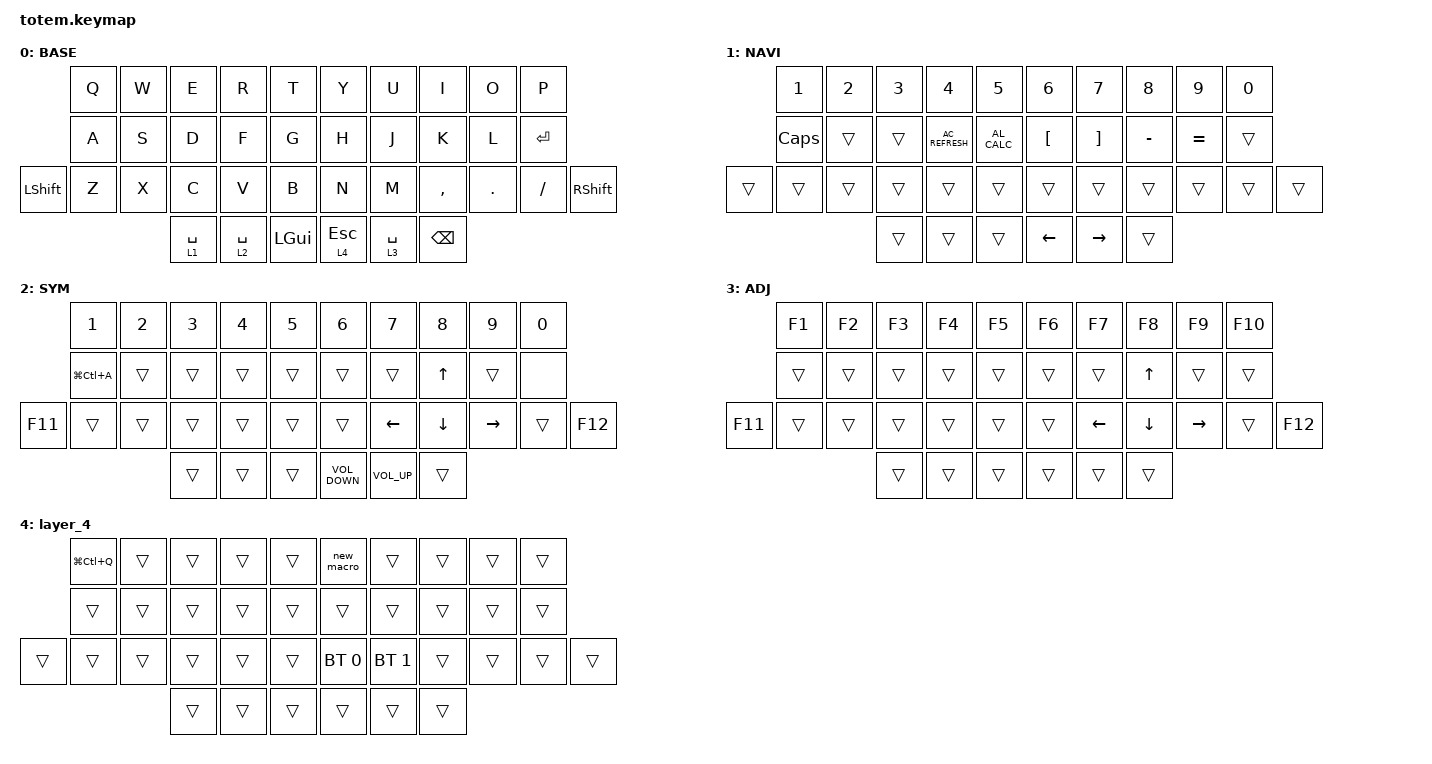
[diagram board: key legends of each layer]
//
//                                                        ▀▀▀▀▀     ▀▀▀▀▀          ▀▀█▀▀
//                                                        ▄▀▀▀▄  ▄  ▄▀▀▀▄  ▄  ▄▀▀▀▄  █  ▄▀▀▀▄
//                                                        █   █  █  █   █  █  █   █  █  █   █
//                                                         ▀▀▀   █   ▀▀▀   █   ▀▀▀   ▀   ▀▀▀
//                                                               █      ▄▄▄█▄▄▄    █   █  
//                                                               ▀      █  █  █     █▄█
//                                                             ▀▀▀▀▀    █  █  █      ▀
//                                                                      ▀  ▀  ▀
//
// ▄▄▄▄▄▄▄▄▄▄▄▄▄▄▄▄▄▄▄▄▄▄▄▄▄▄▄▄▄▄▄▄▄▄▄▄▄▄▄▄▄▄▄▄▄▄▄▄▄▄▄▄▄▄▄▄▄▄▄▄▄▄▄▄▄▄▄▄▄▄▄▄▄▄▄▄▄▄▄▄▄▄▄▄▄▄▄▄▄▄▄▄▄▄▄▄▄▄▄▄▄▄▄▄▄▄▄▄▄▄▄▄▄▄▄▄▄▄▄▄▄▄▄▄▄▄▄▄▄▄▄▄▄▄▄▄▄▄▄▄▄▄▄▄▄▄▄▄▄

#include <behaviors.dtsi>
#include <dt-bindings/zmk/bt.h>
#include <dt-bindings/zmk/keys.h>

#define BASE 0
#define NAV  1
#define SYM  2
#define ADJ  3
#define TVP1 4
#define TVP2 5

&mt {
    quick-tap-ms = <100>;
    global-quick-tap;
    flavor = "tap-preferred";
    tapping-term-ms = <170>;
};

/ {
    combos {
        compatible = "zmk,combos";

        lctrl {
            bindings = <&kp LCTRL>;
            key-positions = <11 12>;
            timeout-ms = <120>;
        };

        lalt {
            bindings = <&kp LALT>;
            key-positions = <12 13>;
            timeout-ms = <120>;
        };

        tab {
            bindings = <&kp TAB>;
            key-positions = <10 11>;
            timeout-ms = <120>;
        };

        ecs {
            bindings = <&kp ESC>;
            key-positions = <0 1>;
            timeout-ms = <120>;
        };

        delete {
            bindings = <&kp DELETE>;
            key-positions = <8 9>;
            timeout-ms = <120>;
        };

        btqingchu {
            bindings = <&bt BT_CLR>;
            key-positions = <20 31>;
            timeout-ms = <123>;
        };

        mima {
            bindings = <&new_macro>;
            key-positions = <0 9>;
            timeout-ms = <123>;
        };
    };

    macros {
        new_macro: new_macro {
            compatible = "zmk,behavior-macro";
            #binding-cells = <0>;
            bindings = <&kp NUMBER_1 &kp N5 &kp N0 &kp N5 &kp N0 &kp N7>;
            label = "NEW_MACRO";
        };
    };

    keymap {
        compatible = "zmk,keymap";

        // ▄▄▄▄▄▄▄▄▄▄▄▄▄▄▄▄▄▄▄▄▄▄▄▄▄▄▄▄▄▄▄▄▄▄▄▄▄▄▄▄▄▄▄▄▄▄▄▄▄▄▄▄▄▄▄▄▄▄▄▄▄▄▄▄▄▄▄▄▄▄▄▄▄▄▄▄▄▄▄▄▄▄▄▄▄▄▄▄▄▄▄▄▄▄▄▄▄▄▄▄▄▄▄▄▄▄▄▄▄▄▄▄▄▄▄▄▄▄▄▄▄▄▄▄▄▄▄▄▄▄▄▄▄▄▄▄▄▄▄▄▄▄▄▄▄▄▄▄▄

        base_layer {
            // ┏━━━━━━━━━━━━━━━━━━━━━━━━━━━━━━━━━━━━━━━┓

            label = "BASE";

            // ┗━━━━━━━━━━━━━━━━━━━━━━━━━━━━━━━━━━━━━━━┛
            //             ┏━━━━━━━━━━━┳━━━━━━━━━━━┳━━━━━━━━━━━┳━━━━━━━━━━━┳━━━━━━━━━━━┓   ┏━━━━━━━━━━━┳━━━━━━━━━━━┳━━━━━━━━━━━┳━━━━━━━━━━━┳━━━━━━━━━━━┓
            //             ┃     Q     ┃     W     ┃     F     ┃     P     ┃     G     ┃   ┃     J     ┃     L     ┃     U     ┃     Y     ┃     ;     ┃
            //             ┣━━━━━━━━━━━╋━━━━━━━━━━━╋━━━━━━━━━━━╋━━━━━━━━━━━╋━━━━━━━━━━━┫   ┣━━━━━━━━━━━╋━━━━━━━━━━━╋━━━━━━━━━━━╋━━━━━━━━━━━╋━━━━━━━━━━━┫
            //             ┃     A     ┃     R     ┃     S     ┃     T     ┃     D     ┃   ┃     H     ┃     N     ┃     E     ┃     I     ┃     O     ┃
            // ┏━━━━━━━━━━━╋━━━━━━━━━━━╋━━━━━━━━━━━╋━━━━━━━━━━━╋━━━━━━━━━━━╋━━━━━━━━━━━┫   ┣━━━━━━━━━━━╋━━━━━━━━━━━╋━━━━━━━━━━━╋━━━━━━━━━━━╋━━━━━━━━━━━╋━━━━━━━━━━━┓
            // ┃     Q     ┃     Z     ┃     X     ┃     C     ┃     V     ┃     B     ┃   ┃     K     ┃     M     ┃     ,     ┃     .     ┃     /     ┃     \     ┃
            // ┗━━━━━━━━━━━┻━━━━━━━━━━━┻━━━━━━━━━━━╋━━━━━━━━━━━╋━━━━━━━━━━━╋━━━━━━━━━━━┫   ┣━━━━━━━━━━━╋━━━━━━━━━━━╋━━━━━━━━━━━╋━━━━━━━━━━━┻━━━━━━━━━━━┻━━━━━━━━━━━┛
            //                                     ┃    DEL    ┃    TAB    ┃    SPC    ┃   ┃   ENTER   ┃           ┃   BSPC    ┃
            //                                     ┗━━━━━━━━━━━┻━━━━━━━━━━━┻━━━━━━━━━━━┛   ┗━━━━━━━━━━━┻━━━━━━━━━━━┻━━━━━━━━━━━┛

            bindings = <
           &kp Q  &kp W  &kp E        &kp R        &kp T       &kp Y      &kp U        &kp I      &kp O    &kp P
           &kp A  &kp S  &kp D        &kp F        &kp G       &kp H      &kp J        &kp K      &kp L    &kp RET
&kp LSHFT  &kp Z  &kp X  &kp C        &kp V        &kp B       &kp N      &kp M        &kp COMMA  &kp DOT  &kp FSLH  &kp RSHFT
                         &lt 1 SPACE  &lt 2 SPACE  &kp LGUI    &lt 4 ESC  &lt 3 SPACE  &kp BSPC
            >;
        };

        // ▄▄▄▄▄▄▄▄▄▄▄▄▄▄▄▄▄▄▄▄▄▄▄▄▄▄▄▄▄▄▄▄▄▄▄▄▄▄▄▄▄▄▄▄▄▄▄▄▄▄▄▄▄▄▄▄▄▄▄▄▄▄▄▄▄▄▄▄▄▄▄▄▄▄▄▄▄▄▄▄▄▄▄▄▄▄▄▄▄▄▄▄▄▄▄▄▄▄▄▄▄▄▄▄▄▄▄▄▄▄▄▄▄▄▄▄▄▄▄▄▄▄▄▄▄▄▄▄▄▄▄▄▄▄▄▄▄▄▄▄▄▄▄▄▄▄▄▄▄

        nav_layer {
            // ┏━━━━━━━━━━━━━━━━━━━━━━━━━━━━━━━━━━━━━━━┓

            label = "NAVI";

            // ┗━━━━━━━━━━━━━━━━━━━━━━━━━━━━━━━━━━━━━━━┛
            //             ┏━━━━━━━━━━━┳━━━━━━━━━━━┳━━━━━━━━━━━┳━━━━━━━━━━━┳━━━━━━━━━━━┓   ┏━━━━━━━━━━━┳━━━━━━━━━━━┳━━━━━━━━━━━┳━━━━━━━━━━━┳━━━━━━━━━━━┓
            //             ┃           ┃           ┃     UP    ┃           ┃     {     ┃   ┃     }     ┃     7     ┃     8     ┃     9     ┃     +     ┃
            //             ┣━━━━━━━━━━━╋━━━━━━━━━━━╋━━━━━━━━━━━╋━━━━━━━━━━━╋━━━━━━━━━━━┫   ┣━━━━━━━━━━━╋━━━━━━━━━━━╋━━━━━━━━━━━╋━━━━━━━━━━━╋━━━━━━━━━━━┫
            //             ┃   SHIFT   ┃   LEFT    ┃    DOWN   ┃   RIGHT   ┃     [     ┃   ┃     ]     ┃     4     ┃     5     ┃     6     ┃     -     ┃
            // ┏━━━━━━━━━━━╋━━━━━━━━━━━╋━━━━━━━━━━━╋━━━━━━━━━━━╋━━━━━━━━━━━╋━━━━━━━━━━━┫   ┣━━━━━━━━━━━╋━━━━━━━━━━━╋━━━━━━━━━━━╋━━━━━━━━━━━╋━━━━━━━━━━━╋━━━━━━━━━━━┓
            // ┃           ┃           ┃   P UP    ┃  C LOCK   ┃  P DOWN   ┃     (     ┃   ┃     )     ┃     1     ┃     2     ┃     3     ┃     *     ┃           ┃
            // ┗━━━━━━━━━━━┻━━━━━━━━━━━┻━━━━━━━━━━━╋━━━━━━━━━━━╋━━━━━━━━━━━╋━━━━━━━━━━━┫   ┣━━━━━━━━━━━╋━━━━━━━━━━━╋━━━━━━━━━━━╋━━━━━━━━━━━┻━━━━━━━━━━━┻━━━━━━━━━━━┛
            //                                     ┃           ┃    TAB    ┃    SPC    ┃   ┃    DEL    ┃     0     ┃           ┃
            //                                     ┗━━━━━━━━━━━┻━━━━━━━━━━━┻━━━━━━━━━━━┛   ┗━━━━━━━━━━━┻━━━━━━━━━━━┻━━━━━━━━━━━┛

            bindings = <
        &kp N1        &kp N2  &kp N3  &kp N4            &kp N5           &kp N6    &kp N7     &kp N8     &kp N9     &kp N0
        &kp CAPSLOCK  &trans  &trans  &kp C_AC_REFRESH  &kp C_AL_CALC    &kp LBKT  &kp RBKT   &kp MINUS  &kp EQUAL  &trans
&trans  &trans        &trans  &trans  &trans            &trans           &trans    &trans     &trans     &trans     &trans  &trans
                              &trans  &trans            &trans           &kp LEFT  &kp RIGHT  &trans
            >;
        };

        // ▄▄▄▄▄▄▄▄▄▄▄▄▄▄▄▄▄▄▄▄▄▄▄▄▄▄▄▄▄▄▄▄▄▄▄▄▄▄▄▄▄▄▄▄▄▄▄▄▄▄▄▄▄▄▄▄▄▄▄▄▄▄▄▄▄▄▄▄▄▄▄▄▄▄▄▄▄▄▄▄▄▄▄▄▄▄▄▄▄▄▄▄▄▄▄▄▄▄▄▄▄▄▄▄▄▄▄▄▄▄▄▄▄▄▄▄▄▄▄▄▄▄▄▄▄▄▄▄▄▄▄▄▄▄▄▄▄▄▄▄▄▄▄▄▄▄▄▄▄

        sim_layer {
            // ┏━━━━━━━━━━━━━━━━━━━━━━━━━━━━━━━━━━━━━━━┓

            label = "SYM";

            // ┗━━━━━━━━━━━━━━━━━━━━━━━━━━━━━━━━━━━━━━━┛
            //             ┏━━━━━━━━━━━┳━━━━━━━━━━━┳━━━━━━━━━━━┳━━━━━━━━━━━┳━━━━━━━━━━━┓   ┏━━━━━━━━━━━┳━━━━━━━━━━━┳━━━━━━━━━━━┳━━━━━━━━━━━┳━━━━━━━━━━━┓
            //             ┃     !     ┃     @     ┃     #     ┃     $     ┃     %     ┃   ┃     ˆ     ┃     &     ┃     Ü     ┃     '     ┃     "     ┃
            //             ┣━━━━━━━━━━━╋━━━━━━━━━━━╋━━━━━━━━━━━╋━━━━━━━━━━━╋━━━━━━━━━━━┫   ┣━━━━━━━━━━━╋━━━━━━━━━━━╋━━━━━━━━━━━╋━━━━━━━━━━━╋━━━━━━━━━━━┫
            //             ┃     Ä     ┃           ┃    SZ     ┃           ┃           ┃   ┃   MUTE    ┃   YEN     ┃   EURO    ┃  POUND    ┃     Ö     ┃
            // ┏━━━━━━━━━━━╋━━━━━━━━━━━╋━━━━━━━━━━━╋━━━━━━━━━━━╋━━━━━━━━━━━╋━━━━━━━━━━━┫   ┣━━━━━━━━━━━╋━━━━━━━━━━━╋━━━━━━━━━━━╋━━━━━━━━━━━╋━━━━━━━━━━━╋━━━━━━━━━━━┓
            // ┃           ┃  EMAIL1   ┃  EMAIL2   ┃           ┃           ┃           ┃   ┃   VOL-    ┃   VOL+    ┃   LAST    ┃   NEXT    ┃     \     ┃           ┃
            // ┗━━━━━━━━━━━┻━━━━━━━━━━━┻━━━━━━━━━━━╋━━━━━━━━━━━╋━━━━━━━━━━━╋━━━━━━━━━━━┫   ┣━━━━━━━━━━━╋━━━━━━━━━━━╋━━━━━━━━━━━╋━━━━━━━━━━━┻━━━━━━━━━━━┻━━━━━━━━━━━┛
            //                                     ┃           ┃    GIF    ┃    ADJ    ┃   ┃           ┃           ┃           ┃
            //                                     ┗━━━━━━━━━━━┻━━━━━━━━━━━┻━━━━━━━━━━━┛   ┗━━━━━━━━━━━┻━━━━━━━━━━━┻━━━━━━━━━━━┛

            bindings = <
         &kp NUMBER_1   &kp NUMBER_2  &kp NUMBER_3  &kp NUMBER_4  &kp N5    &kp N6             &kp N7           &kp N8          &kp N9           &kp N0
         &kp LG(LC(A))  &trans        &trans        &trans        &trans    &trans             &trans           &kp UP_ARROW    &trans           &none
&kp F11  &trans         &trans        &trans        &trans        &trans    &trans             &kp LEFT_ARROW   &kp DOWN_ARROW  &kp RIGHT_ARROW  &trans  &kp F12
                                      &trans        &trans        &trans    &kp C_VOLUME_DOWN  &kp C_VOLUME_UP  &trans
            >;
        };

        // ▄▄▄▄▄▄▄▄▄▄▄▄▄▄▄▄▄▄▄▄▄▄▄▄▄▄▄▄▄▄▄▄▄▄▄▄▄▄▄▄▄▄▄▄▄▄▄▄▄▄▄▄▄▄▄▄▄▄▄▄▄▄▄▄▄▄▄▄▄▄▄▄▄▄▄▄▄▄▄▄▄▄▄▄▄▄▄▄▄▄▄▄▄▄▄▄▄▄▄▄▄▄▄▄▄▄▄▄▄▄▄▄▄▄▄▄▄▄▄▄▄▄▄▄▄▄▄▄▄▄▄▄▄▄▄▄▄▄▄▄▄▄▄▄▄▄▄▄▄

        adjust_layer {
            // ┏━━━━━━━━━━━━━━━━━━━━━━━━━━━━━━━━━━━━━━━┓

            label = "ADJ";

            // ┗━━━━━━━━━━━━━━━━━━━━━━━━━━━━━━━━━━━━━━━┛
            //             ┏━━━━━━━━━━━┳━━━━━━━━━━━┳━━━━━━━━━━━┳━━━━━━━━━━━┳━━━━━━━━━━━┓   ┏━━━━━━━━━━━┳━━━━━━━━━━━┳━━━━━━━━━━━┳━━━━━━━━━━━┳━━━━━━━━━━━┓
            //             ┃   RESET   ┃ BT CLEAR  ┃  OUT TOG  ┃           ┃           ┃   ┃           ┃    F7     ┃    F8     ┃    F9     ┃    F12    ┃
            //             ┣━━━━━━━━━━━╋━━━━━━━━━━━╋━━━━━━━━━━━╋━━━━━━━━━━━╋━━━━━━━━━━━┫   ┣━━━━━━━━━━━╋━━━━━━━━━━━╋━━━━━━━━━━━╋━━━━━━━━━━━╋━━━━━━━━━━━┫
            //             ┃ BOOTLOAD  ┃ BT NEXT   ┃           ┃           ┃           ┃   ┃           ┃    F4     ┃    F5     ┃    F6     ┃    F11    ┃
            // ┏━━━━━━━━━━━╋━━━━━━━━━━━╋━━━━━━━━━━━╋━━━━━━━━━━━╋━━━━━━━━━━━╋━━━━━━━━━━━┫   ┣━━━━━━━━━━━╋━━━━━━━━━━━╋━━━━━━━━━━━╋━━━━━━━━━━━╋━━━━━━━━━━━╋━━━━━━━━━━━┓
            // ┃           ┃           ┃ BT PREV   ┃           ┃           ┃           ┃   ┃           ┃    F1     ┃    F2     ┃    F3     ┃    F10    ┃           ┃
            // ┗━━━━━━━━━━━┻━━━━━━━━━━━┻━━━━━━━━━━━╋━━━━━━━━━━━╋━━━━━━━━━━━╋━━━━━━━━━━━┫   ┣━━━━━━━━━━━╋━━━━━━━━━━━╋━━━━━━━━━━━╋━━━━━━━━━━━┻━━━━━━━━━━━┻━━━━━━━━━━━┛
            //                                     ┃           ┃           ┃           ┃   ┃           ┃           ┃           ┃
            //                                     ┗━━━━━━━━━━━┻━━━━━━━━━━━┻━━━━━━━━━━━┛   ┗━━━━━━━━━━━┻━━━━━━━━━━━┻━━━━━━━━━━━┛

            bindings = <
         &kp F1  &kp F2  &kp F3  &kp F4  &kp F5    &kp F6  &kp F7          &kp F8          &kp F9           &kp F10
         &trans  &trans  &trans  &trans  &trans    &trans  &trans          &kp UP_ARROW    &trans           &trans
&kp F11  &trans  &trans  &trans  &trans  &trans    &trans  &kp LEFT_ARROW  &kp DOWN_ARROW  &kp RIGHT_ARROW  &trans   &kp F12
                         &trans  &trans  &trans    &trans  &trans          &trans
            >;
        };

        layer_4 {
            bindings = <
        &kp LG(LC(Q))  &trans  &trans  &trans  &trans    &new_macro    &trans        &trans  &trans  &trans
        &trans         &trans  &trans  &trans  &trans    &trans        &trans        &trans  &trans  &trans
&trans  &trans         &trans  &trans  &trans  &trans    &bt BT_SEL 0  &bt BT_SEL 1  &trans  &trans  &trans  &trans
                               &trans  &trans  &trans    &trans        &trans        &trans
            >;
        };

        // ▄▄▄▄▄▄▄▄▄▄▄▄▄▄▄▄▄▄▄▄▄▄▄▄▄▄▄▄▄▄▄▄▄▄▄▄▄▄▄▄▄▄▄▄▄▄▄▄▄▄▄▄▄▄▄▄▄▄▄▄▄▄▄▄▄▄▄▄▄▄▄▄▄▄▄▄▄▄▄▄▄▄▄▄▄▄▄▄▄▄▄▄▄▄▄▄▄▄▄▄▄▄▄▄▄▄▄▄▄▄▄▄▄▄▄▄▄▄▄▄▄▄▄▄▄▄▄▄▄▄▄▄▄▄▄▄▄▄▄▄▄▄▄▄▄▄▄▄▄
        // ▄▄▄▄▄▄▄▄▄▄▄▄▄▄▄▄▄▄▄▄▄▄▄▄▄▄▄▄▄▄▄▄▄▄▄▄▄▄▄▄▄▄▄▄▄▄▄▄▄▄▄▄▄▄▄▄▄▄▄▄▄▄▄▄▄▄▄▄▄▄▄▄▄▄▄▄▄▄▄▄▄▄▄▄▄▄▄▄▄▄▄▄▄▄▄▄▄▄▄▄▄▄▄▄▄▄▄▄▄▄▄▄▄▄▄▄▄▄▄▄▄▄▄▄▄▄▄▄▄▄▄▄▄▄▄▄▄▄▄▄▄▄▄▄▄▄▄▄▄
    };
};
